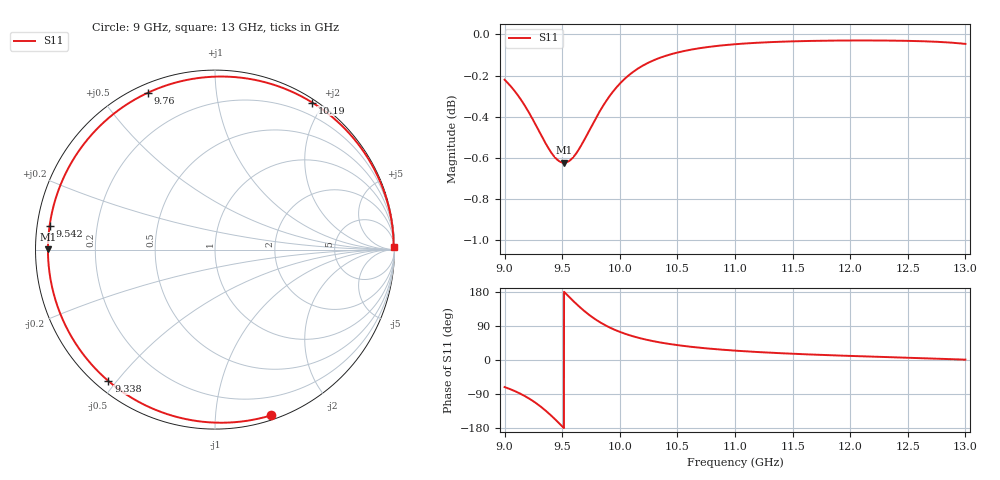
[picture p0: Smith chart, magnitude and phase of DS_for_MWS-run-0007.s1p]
! TOUCHSTONE file generated by CST DESIGN STUDIO
! Date and time: Tue Feb  4 13:27:57 2025
! Project name: C:\Work\MatlabApps\UnitCellOptimizationMatlab\CST\unitcell.cst
! Tree item: Tasks\Sweep1\SPara1\S-Parameters
! Header version: 2024
! Port assignment regex: !\s*Touchstone port\s*([0-9]+)\s*=\s*(CST MWS port|CST DES external port|CST DES block port)\s*(.+)\s* \(\"(.*)\"\)(\s*mode\s*([0-9]+))?.*
! Touchstone port assignment:
! Touchstone port 1 = CST DES external port 1 ("")
# GHz S MA R 50
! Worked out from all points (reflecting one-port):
!   4001 points, 9 GHz to 13 GHz, reference 50 ohm
!   lowest |S11| = -0.6 dB at 9.516 GHz (marker M1), VSWR 27.86, Z = 1.79 + j0.0154 ohm
!   phase of S11 starts at -71 deg and turns -288 deg over the sweep
!   S11 on the Smith chart (normalised r, x): 9 GHz: 0.04, -1.39; 9.338 GHz: 0.04, -0.48; 9.542 GHz: 0.04, +0.07; 9.76 GHz: 0.04, +0.66; 10.19 GHz: 0.04, +1.86; 13 GHz: open
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9  0.975 -71.4
9.093  0.9683 -82.7
9.198  0.9586 -99.1
9.271  0.9505 -113.4
9.338  0.9428 -129.0
9.382  0.9381 -140.5
9.427  0.9342 -153.2
9.464  0.9319 -164.2
9.5  0.9308 -175.1
9.516  0.9307 180.0
9.542  0.931 172.0
9.595  0.9335 156.0
9.656  0.9388 138.7
9.707  0.9444 125.5
9.76  0.9506 113.2
9.809  0.9561 103.2
9.864  0.9617 93.3
10  0.9728 74.2
10.09  0.978 64.8
10.19  0.9823 56.4
10.332  0.9866 47.3
10.5  0.9899 39.3
10.721  0.9926 31.6
11  0.9945 24.7
11.5  0.9961 16.5
12  0.9966 10.8
12.5  0.9964 6.0
13  0.9947 0.9
